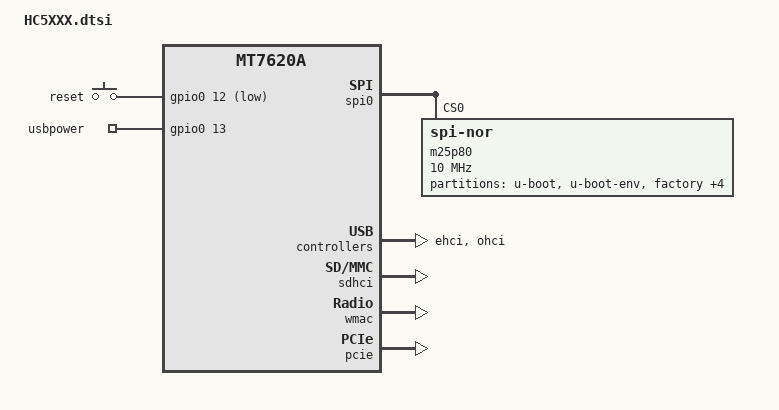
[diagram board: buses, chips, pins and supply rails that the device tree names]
#include "mt7620a.dtsi"

/ {
	chosen {
		bootargs = "console=ttyS0,115200";
	};

	gpio-keys-polled {
		compatible = "gpio-keys-polled";
		#address-cells = <1>;
		#size-cells = <0>;
		poll-interval = <20>;

		reset {
			label = "reset";
			gpios = <&gpio0 12 1>;
			linux,code = <0x198>;
		};
	};

	gpio_export {
		compatible = "gpio-export";
		#size-cells = <0>;

		usbpower {
			gpio-export,name = "usbpower";
			gpio-export,output = <1>;
			gpios = <&gpio0 13 0>;
		};
	};
};

&sysc {
	ralink,gpiomux = "i2c", "jtag";
	ralink,uartmux = "gpio";
	ralink,wdtmux = <1>;
};

&gpio0 {
	status = "okay";
};

&gpio2 {
	status = "okay";
};

&gpio3 {
	status = "okay";
};

&spi0 {
	status = "okay";

	m25p80@0 {
		#address-cells = <1>;
		#size-cells = <1>;
		compatible = "jedec,spi-nor";
		reg = <0>;
		linux,modalias = "m25p80", "w25q128";
		spi-max-frequency = <10000000>;

		partition@0 {
			label = "u-boot";
			reg = <0x0 0x30000>;
		};

		partition@30000 {
			label = "u-boot-env";
			reg = <0x30000 0x10000>;
			read-only;
		};

		factory: partition@40000 {
			label = "factory";
			reg = <0x40000 0x10000>;
		};

		partition@50000 {
			label = "firmware";
			reg = <0x50000 0xf80000>;
		};

		partition@fd0000 {
			label = "hwf_config";
			reg = <0xfd0000 0x10000>;
		};

		bdinfo: partition@fe0000 {
			label = "bdinfo";
			reg = <0xfe0000 0x10000>;
		};

		partition@ff0000 {
			label = "backup";
			reg = <0xff0000 0x10000>;
		};
	};
};

&ehci {
	status = "okay";
};

&ohci {
	status = "okay";
};

&ethernet {
	pinctrl-names = "default";
	pinctrl-0 = <&ephy_pins>;
	mtd-mac-address = <&factory 0x4>;
	mediatek,portmap = "wllll";
};

&sdhci {
	status = "okay";
};

&wmac {
	ralink,mtd-eeprom = <&factory 0>;
};

&pcie {
	status = "okay";
};

&pinctrl {
	state_default: pinctrl0 {
		gpio {
			ralink,group = "uartf", "wled", "nd_sd";
			ralink,function = "gpio";
		};

		pa {
			ralink,group = "pa";
			ralink,function = "pa";
		};
	};
};
